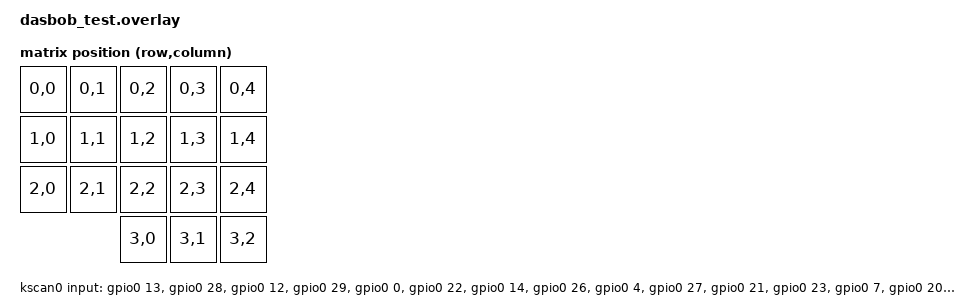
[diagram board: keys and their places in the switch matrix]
#include <dt-bindings/zmk/matrix_transform.h>

/ {
    chosen {
        zmk,kscan = &kscan0;
        zmk,matrix_transform = &default_transform;
    };

    default_transform: keymap_transform_0 {
        compatible = "zmk,matrix-transform";
        columns = <10>;
        rows = <4>;
        map = <
            RC(0,0) RC(0,1) RC(0,2) RC(0,3) RC(0,4)
            RC(1,0) RC(1,1) RC(1,2) RC(1,3) RC(1,4)
            RC(2,0) RC(2,1) RC(2,2) RC(2,3) RC(2,4)
                            RC(3,0) RC(3,1) RC(3,2)  

        >;
    };

    kscan0: kscan {
        compatible = "zmk,kscan-gpio-direct";
        label = "KSCAN";

        input-gpios
            // Left half - Row 0 (Q W E R T)
            = <&gpio0 13 (GPIO_ACTIVE_LOW | GPIO_PULL_UP)>   // Q
            , <&gpio0 28 (GPIO_ACTIVE_LOW | GPIO_PULL_UP)>   // W  
            , <&gpio0 12 (GPIO_ACTIVE_LOW | GPIO_PULL_UP)>   // E
            , <&gpio0 29 (GPIO_ACTIVE_LOW | GPIO_PULL_UP)>   // R
            , <&gpio0 0 (GPIO_ACTIVE_LOW | GPIO_PULL_UP)>    // T
            
            // Left half - Row 1 (A S D F G)
            , <&gpio0 22 (GPIO_ACTIVE_LOW | GPIO_PULL_UP)>   // A
            , <&gpio0 14 (GPIO_ACTIVE_LOW | GPIO_PULL_UP)>   // S
            , <&gpio0 26 (GPIO_ACTIVE_LOW | GPIO_PULL_UP)>   // D
            , <&gpio0 4 (GPIO_ACTIVE_LOW | GPIO_PULL_UP)>    // F
            , <&gpio0 27 (GPIO_ACTIVE_LOW | GPIO_PULL_UP)>   // G
            
            // Left half - Row 2 (Z X C V B)
            , <&gpio0 21 (GPIO_ACTIVE_LOW | GPIO_PULL_UP)>   // Z
            , <&gpio0 23 (GPIO_ACTIVE_LOW | GPIO_PULL_UP)>   // X
            , <&gpio0 7 (GPIO_ACTIVE_LOW | GPIO_PULL_UP)>    // C
            , <&gpio0 20 (GPIO_ACTIVE_LOW | GPIO_PULL_UP)>   // V
            , <&gpio0 6 (GPIO_ACTIVE_LOW | GPIO_PULL_UP)>    // B
            
            // Left thumb keys
            , <&gpio0 16 (GPIO_ACTIVE_LOW | GPIO_PULL_UP)>   // Left thumb 1
            , <&gpio0 9 (GPIO_ACTIVE_LOW | GPIO_PULL_UP)>    // Left thumb 2  
            , <&gpio0 8 (GPIO_ACTIVE_LOW | GPIO_PULL_UP)>    // Left thumb 3
            ;   
    };
};
